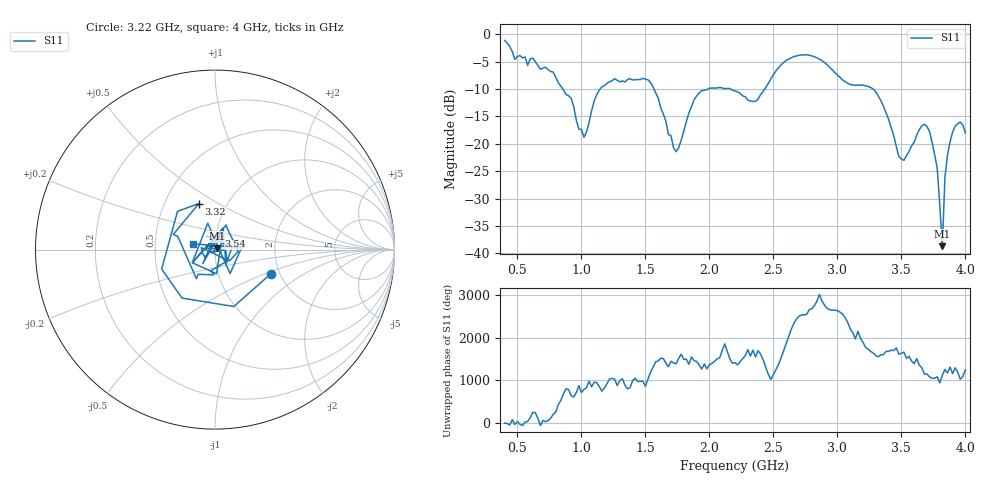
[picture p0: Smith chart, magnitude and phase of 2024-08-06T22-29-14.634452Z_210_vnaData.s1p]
!Created with skrf (http://scikit-rf.org).
# Hz S RI R 50.0
!freq ReS11 ImS11
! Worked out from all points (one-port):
!   181 points, 400 MHz to 4 GHz, reference 50 ohm
!   lowest |S11| = -38.7 dB at 3.82 GHz (marker M1), VSWR 1.02, Z = 51 + j0.633 ohm
!   |S11| at or under -10 dB: 855.1 MHz to 1.146 GHz (291.2 MHz wide, 29.1 % of centre); 1.567 GHz to 1.989 GHz (421.7 MHz wide, 23.7 % of centre); 3.28 GHz to end of sweep (the widest 3 of 4)
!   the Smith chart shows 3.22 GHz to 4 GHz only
!   S11 on the Smith chart (normalised r, x): 3.22 GHz: 1.80, -0.55; 3.32 GHz: 0.74, +0.41; 3.54 GHz: 1.03, +0.16; 4 GHz: 0.78, +0.05
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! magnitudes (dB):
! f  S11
! 400 MHz  -1.1
! 480 MHz  -4.6
! 620 MHz  -4.4
! 860 MHz  -10.2
! 1.02 GHz  -18.8
! 1.14 GHz  -10.2
! 1.3 GHz  -8.7
! 1.54 GHz  -8.8
! 1.72 GHz  -20.7
! 1.76 GHz  -20.7
! 1.92 GHz  -10.7
! 2.2 GHz  -10.4
! 2.36 GHz  -12.2
! 2.66 GHz  -4.1
! 3.1 GHz  -9.2
! 3.22 GHz  -9.4
! 3.32 GHz  -11.3
! 3.48 GHz  -22.3
! 3.54 GHz  -22.1
! 3.56 GHz  -21.4
! 3.66 GHz  -16.7
! 3.72 GHz  -17.8
! 3.78 GHz  -24.5
! 3.82 GHz  -38.7
! 3.84 GHz  -26.2
! 3.88 GHz  -19.6
! 3.96 GHz  -16.0
! 4 GHz  -18.0
